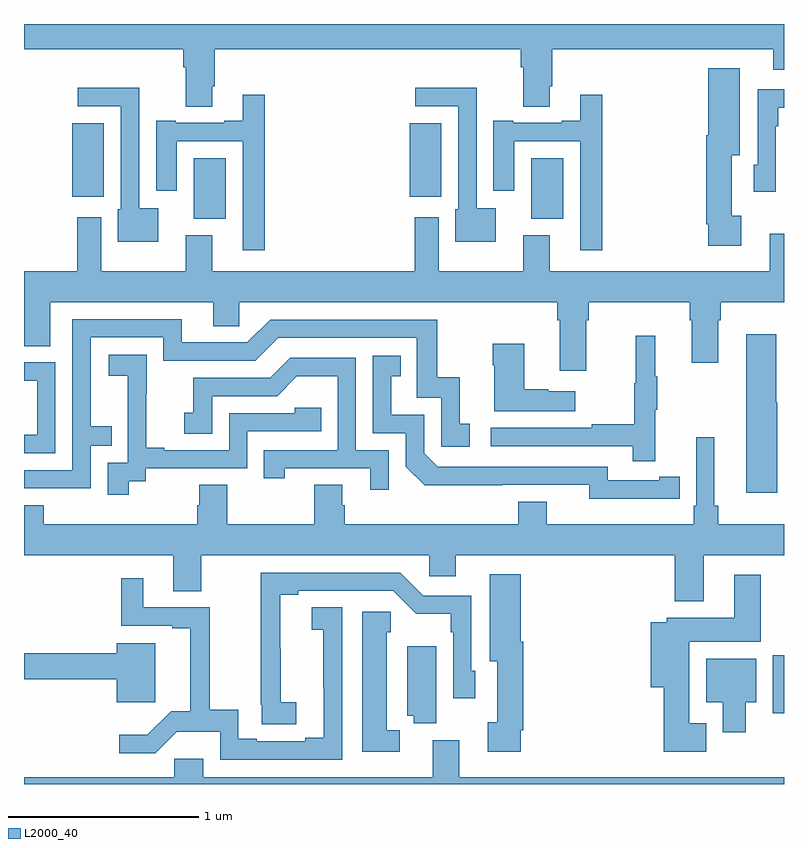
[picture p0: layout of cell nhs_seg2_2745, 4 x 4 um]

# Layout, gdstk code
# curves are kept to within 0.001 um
import gdstk
lib = gdstk.Library(unit=1e-6, precision=1e-09)
def R(c, l, rs):  # rectangles x0, y0, x1, y1
    for r in rs: c.add(gdstk.rectangle(r[:2], r[2:], *l))
def P(c, l, *ps):  # polygons
    for p in ps: c.add(gdstk.Polygon(p, *l))
L2000_40 = (2000, 40)

nhs_seg2_2745 = lib.new_cell('nhs_seg2_2745')
R(nhs_seg2_2745, L2000_40, [(258.941,612.173,259,612.478), (255.893,614.774,256.063,615.094), (257.669,614.774,257.839,615.094), (255.254,614.891,255.421,615.277), (257.03,614.891,257.197,615.277)])
P(nhs_seg2_2745, L2000_40, [(255.991,615.472),(256.004,615.472),(256.004,615.668),(257.615,615.668),(257.615,615.572),(257.627,615.572),(257.627,615.364),(257.767,615.364),(257.767,615.472),(257.779,615.472),(257.779,615.668),(258.944,615.668),(258.944,615.558),(259,615.558),(259,615.8),(255,615.8),(255,615.668),(255.839,615.668),(255.839,615.572),(255.851,615.572),(255.851,615.364),(255.991,615.364)],
  [(258.775,614.79),(258.724,614.79),(258.724,615.11),(258.766,615.11),(258.766,615.568),(258.602,615.568),(258.602,615.214),(258.59,615.214),(258.59,614.746),(258.602,614.746),(258.602,614.634),(258.775,614.634)],
  [(255.706,614.83),(255.606,614.83),(255.606,615.464),(255.282,615.464),(255.282,615.366),(255.51,615.366),(255.51,614.826),(255.494,614.826),(255.494,614.654),(255.706,614.654)],
  [(257.482,614.83),(257.382,614.83),(257.382,615.464),(257.058,615.464),(257.058,615.366),(257.286,615.366),(257.286,614.826),(257.27,614.826),(257.27,614.654),(257.482,614.654)],
  [(258.957,615.263),(258.97,615.263),(258.97,615.359),(259,615.359),(259,615.456),(258.861,615.456),(258.861,615.06),(258.84,615.06),(258.84,614.916),(258.957,614.916)],
  [(258.044,615.427),(257.927,615.427),(257.927,615.292),(257.831,615.292),(257.831,615.279),(257.575,615.279),(257.575,615.292),(257.471,615.292),(257.471,614.922),(257.581,614.922),(257.581,615.183),(257.928,615.183),(257.928,614.61),(258.044,614.61)],
  [(256.268,615.427),(256.151,615.427),(256.151,615.292),(256.055,615.292),(256.055,615.279),(255.799,615.279),(255.799,615.292),(255.695,615.292),(255.695,614.922),(255.805,614.922),(255.805,615.183),(256.152,615.183),(256.152,614.61),(256.268,614.61)],
  [(257.959,614.24),(257.972,614.24),(257.972,614.336),(258.503,614.336),(258.503,614.24),(258.515,614.24),(258.515,614.016),(258.655,614.016),(258.655,614.24),(258.668,614.24),(258.668,614.336),(259,614.336),(259,614.695),(258.926,614.695),(258.926,614.5),(257.767,614.5),(257.767,614.689),(257.627,614.689),(257.627,614.5),(257.182,614.5),(257.182,614.782),(257.057,614.782),(257.057,614.5),(255.991,614.5),(255.991,614.689),(255.851,614.689),(255.851,614.5),(255.406,614.5),(255.406,614.782),(255.281,614.782),(255.281,614.5),(255,614.5),(255,614.104),(255.139,614.104),(255.139,614.336),(255.995,614.336),(255.995,614.209),(256.134,614.209),(256.134,614.336),(257.807,614.336),(257.807,614.24),(257.819,614.24),(257.819,613.974),(257.959,613.974)],
  [(255.351,613.581),(255.461,613.581),(255.461,613.682),(255.351,613.682),(255.351,614.151),(255.732,614.151),(255.732,614.028),(256.218,614.028),(256.338,614.148),(257.067,614.148),(257.067,613.833),(257.196,613.833),(257.196,613.575),(257.347,613.575),(257.347,613.695),(257.294,613.695),(257.294,613.942),(257.176,613.942),(257.176,614.244),(256.296,614.244),(256.176,614.124),(255.829,614.124),(255.829,614.247),(255.255,614.247),(255.255,613.452),(255,613.452),(255,613.356),(255.351,613.356)],
  [(258.964,613.809),(258.959,613.809),(258.959,614.167),(258.8,614.167),(258.8,613.332),(258.964,613.332)],
  [(258.323,613.771),(258.334,613.771),(258.334,613.945),(258.323,613.945),(258.323,614.158),(258.22,614.158),(258.22,613.908),(258.213,613.908),(258.213,613.694),(257.989,613.694),(257.989,613.674),(257.457,613.674),(257.457,613.578),(258.205,613.578),(258.205,613.5),(258.323,613.5)],
  [(257.902,613.867),(257.759,613.867),(257.759,613.877),(257.632,613.877),(257.632,614.116),(257.467,614.116),(257.467,614.003),(257.474,614.003),(257.474,613.763),(257.902,613.763)],
  [(255.55,613.393),(255.642,613.393),(255.642,613.461),(256.176,613.461),(256.176,613.656),(256.565,613.656),(256.565,613.779),(256.425,613.779),(256.425,613.752),(256.08,613.752),(256.08,613.557),(255.739,613.557),(255.739,613.57),(255.644,613.57),(255.644,613.853),(255.645,613.853),(255.645,614.059),(255.447,614.059),(255.447,613.949),(255.545,613.949),(255.545,613.721),(255.546,613.721),(255.546,613.491),(255.441,613.491),(255.441,613.323),(255.55,613.323)],
  [(258.344,613.302),(258.452,613.302),(258.452,613.418),(258.344,613.418),(258.344,613.398),(258.072,613.398),(258.072,613.47),(257.178,613.47),(257.106,613.542),(257.106,613.743),(256.933,613.743),(256.933,613.947),(256.982,613.947),(256.982,614.053),(256.836,614.053),(256.836,613.647),(257.01,613.647),(257.01,613.47),(257.108,613.373),(257.976,613.374),(257.976,613.301)],
  [(256.92,613.557),(256.746,613.557),(256.746,614.043),(256.4,614.043),(256.295,613.938),(255.892,613.938),(255.892,613.753),(255.843,613.753),(255.843,613.644),(255.99,613.644),(255.99,613.842),(256.332,613.842),(256.436,613.946),(256.65,613.946),(256.65,613.557),(256.261,613.557),(256.261,613.41),(256.372,613.41),(256.372,613.461),(256.823,613.461),(256.823,613.35),(256.92,613.35)],
  [(255.165,614.019),(255,614.019),(255,613.923),(255.069,613.923),(255.069,613.638),(255,613.638),(255,613.542),(255.165,613.542)],
  [(258.577,613.004),(259,613.004),(259,613.168),(258.653,613.168),(258.653,613.264),(258.634,613.264),(258.634,613.624),(258.537,613.624),(258.537,613.264),(258.524,613.264),(258.524,613.168),(257.752,613.168),(257.752,613.285),(257.6,613.285),(257.6,613.168),(256.688,613.168),(256.688,613.266),(256.675,613.266),(256.675,613.376),(256.528,613.376),(256.528,613.168),(256.071,613.168),(256.071,613.376),(255.923,613.376),(255.923,613.266),(255.911,613.266),(255.911,613.168),(255.104,613.168),(255.104,613.267),(255,613.267),(255,613.004),(255.785,613.004),(255.785,612.814),(255.933,612.814),(255.933,613.004),(257.133,613.004),(257.133,612.894),(257.272,612.894),(257.272,613.004),(258.425,613.004),(258.425,612.761),(258.577,612.761)],
  [(256.432,612.23),(256.35,612.23),(256.348,612.796),(256.444,612.796),(256.444,612.816),(256.944,612.816),(257.065,612.695),(257.247,612.695),(257.247,612.599),(257.259,612.599),(257.259,612.252),(257.376,612.252),(257.376,612.396),(257.355,612.396),(257.355,612.792),(257.1,612.792),(256.98,612.912),(256.246,612.912),(256.246,612.217),(256.252,612.217),(256.252,612.115),(256.432,612.115)],
  [(257.614,612.082),(257.627,612.082),(257.627,612.55),(257.614,612.55),(257.614,612.904),(257.45,612.904),(257.45,612.446),(257.492,612.446),(257.492,612.126),(257.442,612.126),(257.442,611.97),(257.614,611.97)],
  [(258.592,612.121),(258.502,612.121),(258.502,612.548),(258.877,612.548),(258.877,612.901),(258.737,612.901),(258.737,612.676),(258.384,612.676),(258.384,612.652),(258.299,612.652),(258.299,612.308),(258.368,612.308),(258.368,611.969),(258.592,611.969)],
  [(256.674,612.731),(256.515,612.731),(256.515,612.611),(256.576,612.611),(256.577,612.044),(256.481,612.044),(256.481,612.024),(256.225,612.024),(256.225,612.038),(256.128,612.038),(256.128,612.191),(255.977,612.191),(255.977,612.729),(255.628,612.729),(255.628,612.883),(255.511,612.883),(255.511,612.633),(255.779,612.633),(255.779,612.621),(255.875,612.621),(255.875,612.184),(255.775,612.184),(255.649,612.058),(255.501,612.058),(255.501,611.961),(255.69,611.961),(255.803,612.074),(256.032,612.074),(256.032,611.928),(256.674,611.928)],
  [(256.978,612.084),(256.909,612.084),(256.909,612.6),(256.931,612.6),(256.931,612.706),(256.781,612.706),(256.781,611.969),(256.978,611.969)],
  [(255.691,612.541),(255.488,612.541),(255.488,612.488),(255,612.488),(255,612.352),(255.488,612.352),(255.488,612.231),(255.691,612.231)],
  [(257.17,612.526),(257.018,612.526),(257.018,612.158),(257.05,612.158),(257.05,612.121),(257.17,612.121)],
  [(258.799,612.23),(258.853,612.23),(258.853,612.46),(258.59,612.46),(258.59,612.23),(258.677,612.23),(258.677,612.072),(258.799,612.072)],
  [(259,611.836),(257.29,611.836),(257.29,612.031),(257.15,612.031),(257.15,611.836),(255.943,611.836),(255.943,611.934),(255.792,611.934),(255.792,611.836),(255,611.836),(255,611.8),(259,611.8)])

lib.write_gds('nhs_seg2_2745.gds')
